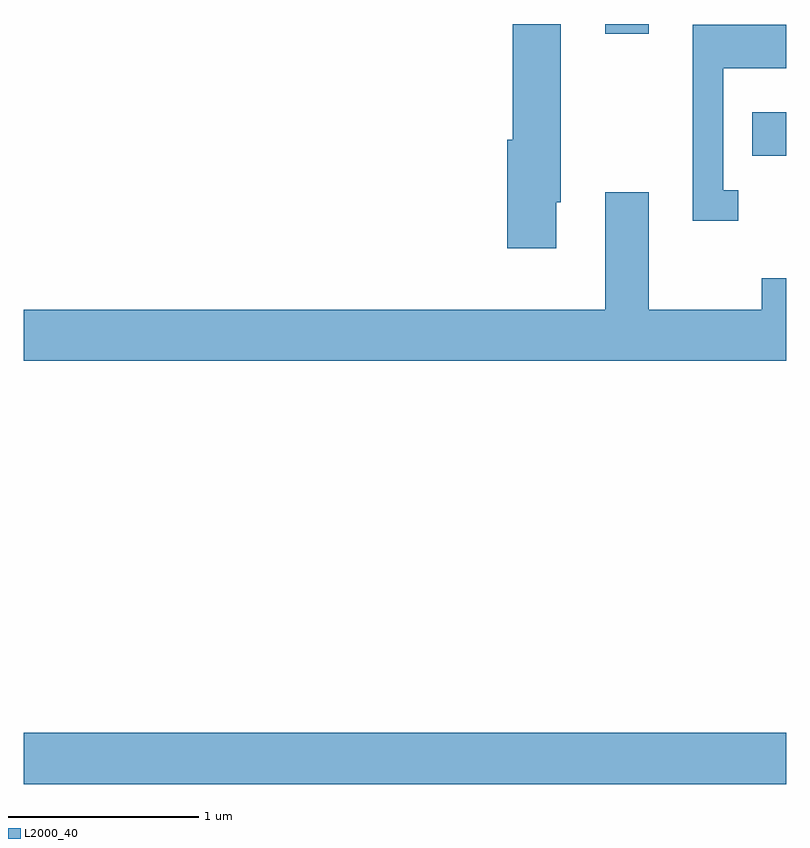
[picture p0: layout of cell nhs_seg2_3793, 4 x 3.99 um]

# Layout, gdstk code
import gdstk
lib = gdstk.Library(unit=1e-6, precision=1e-09)
def R(c, l, rs):  # rectangles x0, y0, x1, y1
    for r in rs: c.add(gdstk.rectangle(r[:2], r[2:], *l))
def P(c, l, *ps):  # polygons
    for p in ps: c.add(gdstk.Polygon(p, *l))
L2000_40 = (2000, 40)

nhs_seg2_3793 = lib.new_cell('nhs_seg2_3793')
R(nhs_seg2_3793, L2000_40, [(295.611,1103.816,299.611,1104.084), (299.431,1107.111,299.611,1107.339), (298.661,1107.751,298.889,1107.802)])
P(nhs_seg2_3793, L2000_40, [(298.404,1106.866),(298.429,1106.866),(298.429,1107.802),(298.176,1107.802),(298.176,1107.194),(298.146,1107.194),(298.146,1106.626),(298.404,1106.626)],
  [(299.358,1106.929),(299.279,1106.929),(299.279,1107.571),(299.611,1107.571),(299.611,1107.799),(299.121,1107.799),(299.121,1106.771),(299.358,1106.771)],
  [(299.611,1106.469),(299.481,1106.469),(299.481,1106.304),(298.889,1106.304),(298.889,1106.919),(298.661,1106.919),(298.661,1106.304),(295.611,1106.304),(295.611,1106.036),(299.611,1106.036)])

lib.write_gds('nhs_seg2_3793.gds')
